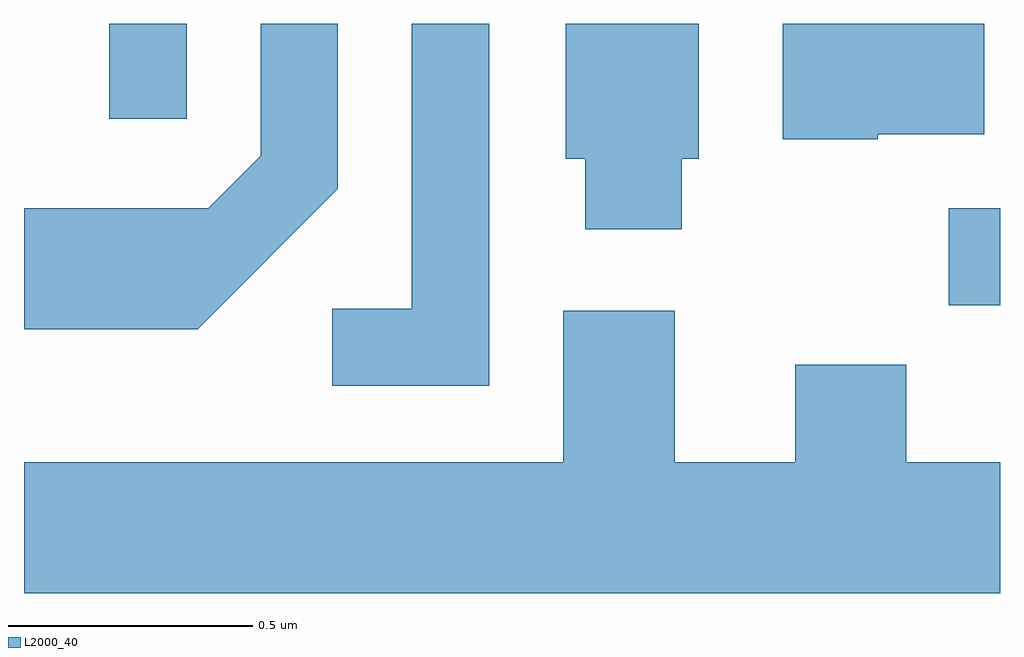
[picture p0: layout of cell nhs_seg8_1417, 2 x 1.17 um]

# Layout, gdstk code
import gdstk
lib = gdstk.Library(unit=1e-6, precision=1e-09)
def R(c, l, rs):  # rectangles x0, y0, x1, y1
    for r in rs: c.add(gdstk.rectangle(r[:2], r[2:], *l))
def P(c, l, *ps):  # polygons
    for p in ps: c.add(gdstk.Polygon(p, *l))
L2000_40 = (2000, 40)

nhs_seg8_1417 = lib.new_cell('nhs_seg8_1417')
R(nhs_seg8_1417, L2000_40, [(197.506,1854.766,197.611,1854.964), (195.786,1855.148,195.944,1855.342)])
P(nhs_seg8_1417, L2000_40, [(196.564,1855.342),(196.406,1855.342),(196.406,1854.759),(196.243,1854.759),(196.243,1854.601),(196.564,1854.601)],
  [(197.36,1855.116),(197.579,1855.116),(197.579,1855.342),(197.166,1855.342),(197.166,1855.106),(197.36,1855.106)],
  [(196.959,1855.066),(196.994,1855.066),(196.994,1855.342),(196.721,1855.342),(196.721,1855.066),(196.761,1855.066),(196.761,1854.921),(196.959,1854.921)],
  [(196.254,1855.004),(196.254,1855.342),(196.096,1855.342),(196.096,1855.072),(195.989,1854.964),(195.611,1854.964),(195.611,1854.716),(195.967,1854.716)],
  [(197.611,1854.444),(197.419,1854.444),(197.419,1854.644),(197.191,1854.644),(197.191,1854.444),(196.944,1854.444),(196.944,1854.754),(196.716,1854.754),(196.716,1854.444),(195.611,1854.444),(195.611,1854.176),(197.611,1854.176)])

lib.write_gds('nhs_seg8_1417.gds')
